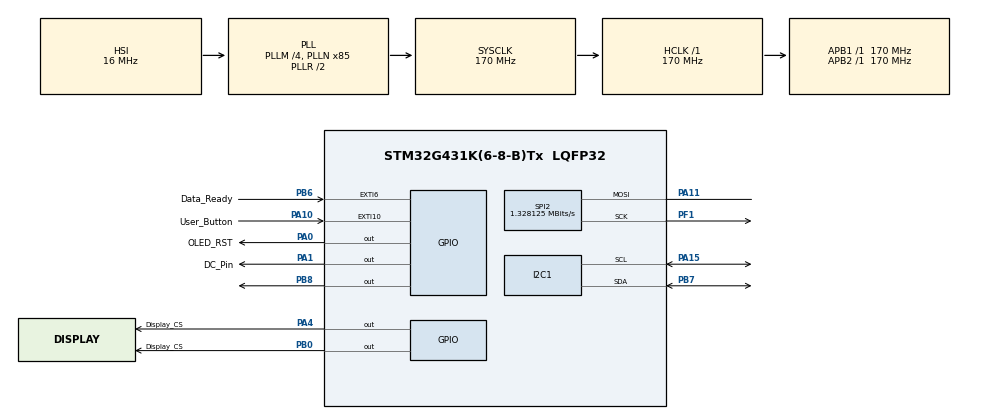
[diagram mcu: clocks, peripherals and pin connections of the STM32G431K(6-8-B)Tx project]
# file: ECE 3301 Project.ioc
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I2C1.Analog_Filter=I2C_ANALOGFILTER_DISABLE
I2C1.Timing=0x509170A3
IWDG.Prescaler=IWDG_PRESCALER_32
IWDG.Reload=249
IWDG.Window=249
Mcu.Family=STM32G4
Mcu.Name=STM32G431K(6-8-B)Tx
Mcu.Package=LQFP32
NUCLEO-G431KB.LD2=true
NUCLEO-G431KB.VCP=true
NVIC.EXTI15_10_IRQn=true\:0\:0\:false\:false\:true\:true\:true\:true
NVIC.EXTI9_5_IRQn=true\:0\:0\:false\:false\:true\:true\:true\:true
NVIC.PriorityGroup=NVIC_PRIORITYGROUP_4
NVIC.TIM2_IRQn=true\:0\:0\:false\:false\:true\:true\:true\:true
NVIC.TIM3_IRQn=true\:0\:0\:false\:false\:true\:true\:true\:true
PA0.GPIO_Label=OLED_RST
PA0.Signal=GPIO_Output
PA1.GPIO_Label=DC_Pin
PA1.Signal=GPIO_Output
PA10.GPIO_Label=User_Button
PA10.GPIO_PuPd=GPIO_PULLDOWN
PA10.Signal=GPXTI10
PA11.Mode=Simplex_Bidirectional_Master
PA11.Signal=SPI2_MOSI
PA13.GPIO_Label=T_SWDIO
PA13.Mode=Trace_Asynchronous_SW
PA13.Signal=SYS_JTMS-SWDIO
PA14.GPIO_Label=T_SWCLK
PA14.Mode=Trace_Asynchronous_SW
PA14.Signal=SYS_JTCK-SWCLK
PA15.GPIO_Pu=GPIO_NOPULL
PA15.GPIO_Speed=GPIO_SPEED_FREQ_VERY_HIGH
PA15.Mode=I2C
PA15.Signal=I2C1_SCL
PA2.Signal=USART2_TX
PA3.Signal=USART2_RX
PA4.GPIO_Label=Display_CS
PA4.GPIO_Speed=GPIO_SPEED_FREQ_VERY_HIGH
PA4.Signal=GPIO_Output
PB0.GPIO_Label=Display_CS
PB0.Signal=GPIO_Output
PB3.GPIO_Label=T_SWO
PB3.Mode=Trace_Asynchronous_SW
PB3.Signal=SYS_JTDO-SWO
PB6.GPIO_Label=Data_Ready
PB6.Signal=GPXTI6
PB7.GPIO_FM7=SYSCFG_FASTMODEPLUS_PB7
PB7.GPIO_Pu=GPIO_NOPULL
PB7.GPIO_Speed=GPIO_SPEED_FREQ_VERY_HIGH
PB7.Mode=I2C
PB7.Signal=I2C1_SDA
PB8-BOOT0.Signal=GPIO_Output
PF1-OSC_OUT.Mode=Simplex_Bidirectional_Master
PF1-OSC_OUT.Signal=SPI2_SCK
ProjectManager.HeapSize=0x200
ProjectManager.StackSize=0x400
ProjectManager.TargetToolchain=STM32CubeIDE
RCC.ADC12Freq_Value=170000000
RCC.AHBFreq_Value=170000000
RCC.APB1Freq_Value=170000000
RCC.APB1TimFreq_Value=170000000
RCC.APB2Freq_Value=170000000
RCC.APB2TimFreq_Value=170000000
RCC.CortexFreq_Value=170000000
RCC.EXTERNAL_CLOCK_VALUE=12288000
RCC.HCLKFreq_Value=170000000
RCC.HSE_VALUE=8000000
RCC.HSI48_VALUE=48000000
RCC.HSI_VALUE=16000000
RCC.LSE_VALUE=32768
RCC.PLLM=RCC_PLLM_DIV4
RCC.PLLN=85
RCC.SYSCLKFreq_VALUE=170000000
RCC.SYSCLKSource=RCC_SYSCLKSOURCE_PLLCLK
RCC.USBFreq_Value=170000000
RCC.VCOOutputFreq_Value=340000000
SPI2.BaudRatePrescaler=SPI_BAUDRATEPRESCALER_128
SPI2.CalculateBaudRate=1.328125 MBits/s
SPI2.Direction=SPI_DIRECTION_1LINE
SPI2.Mode=SPI_MODE_MASTER
SPI2.VirtualType=VM_MASTER
TIM2.PeriodNoDither=169999
TIM2.Prescaler=0
TIM3.PeriodNoDither=16999
TIM3.Prescaler=0
VP_CORDIC_VS_CORDIC.Mode=CORDIC_Activate
VP_IWDG_VS_IWDG.Mode=IWDG_Activate
VP_NUCLEO-G431KB_VS_BSP_COMMON.Mode=COMMON
VP_SYS_VS_DBSignals.Mode=DisableDeadBatterySignals
VP_TIM2_VS_ClockSourceINT.Mode=Internal
VP_TIM3_VS_ClockSourceINT.Mode=Internal
board=NUCLEO-G431KB

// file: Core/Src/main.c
/* USER CODE BEGIN Header */
/**
 ******************************************************************************
 * @file           : main.c
 * @brief          : Main program body
 ******************************************************************************
 * @attention
 *
 * Copyright (c) 2026 STMicroelectronics.
 * All rights reserved.
 *
 * This software is licensed under terms that can be found in the LICENSE file
 * in the root directory of this software component.
 * If no LICENSE file comes with this software, it is provided AS-IS.
 *
 ******************************************************************************
 */
/* USER CODE END Header */
#include "main.h"
#include "bno055.h"

/* USER CODE BEGIN PD */
#define LEVEL_MODE 0
#define COMPASS_MODE 1

#define SLEEP_TIMER 20000

#define REFRESH_RATE 65 // 1/65ms ~ 15 FPS

/* BEGIN TELEMETRY: remove this block and its use in the main loop to disable. */
#define TELEMETRY_PERIOD_MS 500U
/* END TELEMETRY */

#define SCREEN_WIDTH  240
#define SCREEN_HEIGHT 240

/* USER CODE END PD */

COM_InitTypeDef BspCOMInit;

CORDIC_HandleTypeDef hcordic;

I2C_HandleTypeDef hi2c1;

IWDG_HandleTypeDef hiwdg;

SPI_HandleTypeDef hspi2;

TIM_HandleTypeDef htim2;
TIM_HandleTypeDef htim3;

/* USER CODE BEGIN PV */
volatile uint8_t Display_State = LEVEL_MODE;
volatile uint8_t Sleep_Mode = 0;

volatile uint32_t Sleep_tick = 0;
volatile uint32_t DisplayRefresh_tick = 0;

volatile uint16_t AccelVector[2] = { 0 };
volatile uint16_t gyroVector[2] = { 0 };
volatile uint16_t gravityVector[3] = { 0 }; //dunno if we need this

volatile uint16_t headingVector[2] = { 0 }; //compass vectors
volatile uint16_t levelVector[2] = { 0 };  //level vectors

volatile uint8_t Data_Ready = 0;

volatile float compassHeading = 0.0f;
volatile uint8_t compassDirection = 0;
volatile float tiltX = 0.0f;
volatile float tiltY = 0.0f;

const char *compassString;

uint8_t frame_buffer[SCREEN_WIDTH * SCREEN_HEIGHT / 2];

BNO055_Data orientation;

/* USER CODE END PV */

void SystemClock_Config(void);
static void MX_GPIO_Init(void);
static void MX_I2C1_Init(void);
static void MX_CORDIC_Init(void);
static void MX_TIM2_Init(void);
static void MX_TIM3_Init(void);
static void MX_IWDG_Init(void);
static void MX_SPI2_Init(void);
/* USER CODE BEGIN PFP */

static void read_level(); 			 //Terry
static void read_heading(); 		 //Terry
static void calculate_level(); 	 	 //Ryan
static void calculate_compass(); 	 //Brady
static void generate_levelframe(); 	 //Ethan
static void generate_headingframe(); //Ethan
static void update_display();  		 //Alexander

/* USER CODE END PFP */

/* USER CODE BEGIN 0 */
void HAL_GPIO_EXTI_Callback(uint16_t GPIO_Pin) {
	if (GPIO_Pin == User_Button_Pin) {
		Display_State = !Display_State;
	} else if (GPIO_Pin == Data_Ready_Pin) {
		Data_Ready = 1;
	}
}

void HAL_TIM_PeriodElapsedCallback(TIM_HandleTypeDef *htim) {
	// 1 ms timer
	if (htim->Instance == TIM2) {
		DisplayRefresh_tick++;
		Sleep_tick++;
		//fill as needed

	}

	// 100 us timer
	else if (htim->Instance == TIM3) {
		//fill as needed

	}
}

static void read_level() {
	if (BNO055_Read(&hi2c1, &orientation) == HAL_OK)
	    {
		        // Store roll angle
		        levelVector[0] =
		            (int16_t)(orientation.roll_deg * 100.0f);

		        // Store pitch angle
		        levelVector[1] =
		            (int16_t)(orientation.pitch_deg * 100.0f);
	    }
	//run the sensor in 9DOF fusion mode
	//pwetty pwease enable ACC_BSX_DRDY interrupt, and clear at end of data read

	//format vector info as Vector[]= {x,y,z};

}

static void read_heading() {
	if (BNO055_Read(&hi2c1, &orientation) == HAL_OK)
	    {
	        headingVector[0] =
	            (uint16_t)(orientation.heading_deg);
	    }
}

static void calculate_level() {

		tiltX = levelVector[0] / 100.0f;
	    tiltY = levelVector[1] / 100.0f;
}

static void calculate_compass() {

	uint16_t Heading = headingVector[0];  //read heading

	compassHeading = Heading;

	if (compassHeading >= 337.5f ||
	        compassHeading < 22.5f)
	    {
	        compassString = "North";  // North
	    }
	    else if (compassHeading < 67.5f)
	    {
	        compassString = "North-East";  // North-east
	    }
	    else if (compassHeading < 112.5f)
	    {
	        compassString = "East";  // East
	    }
	    else if (compassHeading < 157.5f)
	    {
	        compassString = "South-East";  // South-east
	    }
	    else if (compassHeading < 202.5f)
	    {
	        compassString = "South";  // South
	    }
	    else if (compassHeading < 247.5f)
	    {
	        compassString = "South-West";  // South-west
	    }
	    else if (compassHeading < 292.5f)
	    {
	        compassString = "West";  // West
	    }
	    else
	    {
	        compassString = "North-West";  // Northwest
	    }

}

static void generate_levelframe() {

}

static void generate_headingframe() {

}

static void update_display() {

}

/* USER CODE END 0 */

int main(void)
{

  /* MCU Configuration--------------------------------------------------------*/

  /* Reset of all peripherals, Initializes the Flash interface and the Systick. */
  HAL_Init();

  /* Configure the system clock */
  SystemClock_Config();

  /* Initialize all configured peripherals */
  MX_GPIO_Init();
  MX_I2C1_Init();
  MX_CORDIC_Init();
  MX_TIM2_Init();
  MX_TIM3_Init();
  //MX_IWDG_Init();
  MX_SPI2_Init();
  /* USER CODE BEGIN 2 */

  /* Initialize COM1 port (115200, 8 bits (7-bit data + 1 stop bit), no parity */
  BspCOMInit.BaudRate   = 115200;
  BspCOMInit.WordLength = COM_WORDLENGTH_8B;
  BspCOMInit.StopBits   = COM_STOPBITS_1;
  BspCOMInit.Parity     = COM_PARITY_NONE;
  BspCOMInit.HwFlowCtl  = COM_HWCONTROL_NONE;
  if (BSP_COM_Init(COM1, &BspCOMInit) != BSP_ERROR_NONE)
  {
    Error_Handler();
  }

  /* BEGIN TELEMETRY: remove this line with the other telemetry blocks. */
  printf("VCOM online\r\n");
  /* END TELEMETRY */

  /* BEGIN I2C TEST: remove this block after the sensor bus is verified. */
  uint8_t test_chip_id = 0;
  HAL_StatusTypeDef test_status = BNO055_I2C_Test(&hi2c1, &test_chip_id);
  printf("I2C test: %s, chip ID=0x%02X, error=0x%08lX\r\n",
         test_status == HAL_OK ? "OK" : "FAIL", test_chip_id,
         (unsigned long)HAL_I2C_GetError(&hi2c1));
  /* END I2C TEST */

  if (BNO055_Init(&hi2c1) != HAL_OK)
  {
      printf("BNO055 init failed, I2C error=0x%08lX\r\n",
             (unsigned long)HAL_I2C_GetError(&hi2c1));
      Error_Handler();
  }
  printf("BNO055 init OK\r\n");

 // MX_IWDG_Init(); // Moved in front of BNOO055_Init to prevent watchdog reset

	HAL_TIM_Base_Start_IT(&htim2);
	HAL_TIM_Base_Start_IT(&htim3);

  /* USER CODE END 2 */

  /* Do not call BSP_LED_Init here: USE_NUCLEO_64 maps the LED to PA5,
     which shares SDA/PB7 through SB2 on the NUCLEO-G431KB. */

  /* Initialize COM1 port (115200, 8 bits (7-bit data + 1 stop bit), no parity */
  BspCOMInit.BaudRate   = 115200;
  BspCOMInit.WordLength = COM_WORDLENGTH_8B;
  BspCOMInit.StopBits   = COM_STOPBITS_1;
  BspCOMInit.Parity     = COM_PARITY_NONE;
  BspCOMInit.HwFlowCtl  = COM_HWCONTROL_NONE;
  if (BSP_COM_Init(COM1, &BspCOMInit) != BSP_ERROR_NONE)
  {
    Error_Handler();
  }

  /* Infinite loop */
  /* USER CODE BEGIN WHILE */
	while (1) {
		/* BEGIN TELEMETRY: periodic angle output over the USB VCOM port. */
		static uint32_t telemetry_last_tick = 0;
		/* END TELEMETRY */

    /* USER CODE END WHILE */

    /* USER CODE BEGIN 3 */

		if (Data_Ready) {
			Sleep_Mode = 0;
			Sleep_tick = 0;
			Data_Ready=0;
			if (Display_State == LEVEL_MODE) {
				read_level();
				calculate_level();
				if (DisplayRefresh_tick >= REFRESH_RATE) {
					generate_levelframe();
					update_display();
					DisplayRefresh_tick = 0;
				}
			} else if (Display_State == COMPASS_MODE) {
				read_heading();
				calculate_compass();
				if (DisplayRefresh_tick >= REFRESH_RATE) {
					generate_headingframe();
					update_display();
					DisplayRefresh_tick = 0;
				}
			} else {
				Display_State = LEVEL_MODE;
			}
			if (BNO055_ClearInterrupt(&hi2c1) != HAL_OK)
			{
			    Error_Handler();
			}
		}
		/* BEGIN TELEMETRY: remove this block to disable angle output. */
		if ((HAL_GetTick() - telemetry_last_tick) >= TELEMETRY_PERIOD_MS) {
			telemetry_last_tick = HAL_GetTick();
			/* Poll directly so telemetry also works without the INT connection. */
			if (BNO055_Read(&hi2c1, &orientation) != HAL_OK) {
				printf("ANGLE read failed, I2C error=0x%08lX\r\n",
				       (unsigned long)HAL_I2C_GetError(&hi2c1));
				continue;
			}
			int32_t heading_cdeg = (int32_t)lroundf(orientation.heading_deg * 100.0f);
			int32_t roll_cdeg = (int32_t)lroundf(orientation.roll_deg * 100.0f);
			int32_t pitch_cdeg = (int32_t)lroundf(orientation.pitch_deg * 100.0f);
			uint32_t heading_abs = (uint32_t)(heading_cdeg < 0 ? -heading_cdeg : heading_cdeg);
			uint32_t roll_abs = (uint32_t)(roll_cdeg < 0 ? -roll_cdeg : roll_cdeg);
			uint32_t pitch_abs = (uint32_t)(pitch_cdeg < 0 ? -pitch_cdeg : pitch_cdeg);

			printf("ANGLES H=%s%lu.%02lu R=%s%lu.%02lu P=%s%lu.%02lu deg\r\n",
			       heading_cdeg < 0 ? "-" : "", (unsigned long)(heading_abs / 100U), (unsigned long)(heading_abs % 100U),
			       roll_cdeg < 0 ? "-" : "", (unsigned long)(roll_abs / 100U), (unsigned long)(roll_abs % 100U),
			       pitch_cdeg < 0 ? "-" : "", (unsigned long)(pitch_abs / 100U), (unsigned long)(pitch_abs % 100U));
			telemetry_last_tick = HAL_GetTick();
		}
		/* END TELEMETRY */
		if ((Sleep_tick >= SLEEP_TIMER) && !Sleep_Mode) {
			Sleep_Mode = 1;
			memset(frame_buffer, 0, sizeof(frame_buffer));
			update_display();
		}

		//HAL_IWDG_Refresh(&hiwdg); //needs to be kicked every 250ms
	}

  /* USER CODE END 3 */
}

void SystemClock_Config(void)
{
  RCC_OscInitTypeDef RCC_OscInitStruct = {0};
  RCC_ClkInitTypeDef RCC_ClkInitStruct = {0};

  /** Configure the main internal regulator output voltage
  */
  HAL_PWREx_ControlVoltageScaling(PWR_REGULATOR_VOLTAGE_SCALE1_BOOST);

  /** Initializes the RCC Oscillators according to the specified parameters
  * in the RCC_OscInitTypeDef structure.
  */
  RCC_OscInitStruct.OscillatorType = RCC_OSCILLATORTYPE_HSI|RCC_OSCILLATORTYPE_LSI;
  RCC_OscInitStruct.HSIState = RCC_HSI_ON;
  RCC_OscInitStruct.HSICalibrationValue = RCC_HSICALIBRATION_DEFAULT;
  RCC_OscInitStruct.LSIState = RCC_LSI_ON;
  RCC_OscInitStruct.PLL.PLLState = RCC_PLL_ON;
  RCC_OscInitStruct.PLL.PLLSource = RCC_PLLSOURCE_HSI;
  RCC_OscInitStruct.PLL.PLLM = RCC_PLLM_DIV4;
  RCC_OscInitStruct.PLL.PLLN = 85;
  RCC_OscInitStruct.PLL.PLLP = RCC_PLLP_DIV2;
  RCC_OscInitStruct.PLL.PLLQ = RCC_PLLQ_DIV2;
  RCC_OscInitStruct.PLL.PLLR = RCC_PLLR_DIV2;
  if (HAL_RCC_OscConfig(&RCC_OscInitStruct) != HAL_OK)
  {
    Error_Handler();
  }

  /** Initializes the CPU, AHB and APB buses clocks
  */
  RCC_ClkInitStruct.ClockType = RCC_CLOCKTYPE_HCLK|RCC_CLOCKTYPE_SYSCLK
                              |RCC_CLOCKTYPE_PCLK1|RCC_CLOCKTYPE_PCLK2;
  RCC_ClkInitStruct.SYSCLKSource = RCC_SYSCLKSOURCE_PLLCLK;
  RCC_ClkInitStruct.AHBCLKDivider = RCC_SYSCLK_DIV1;
  RCC_ClkInitStruct.APB1CLKDivider = RCC_HCLK_DIV1;
  RCC_ClkInitStruct.APB2CLKDivider = RCC_HCLK_DIV1;

  if (HAL_RCC_ClockConfig(&RCC_ClkInitStruct, FLASH_LATENCY_4) != HAL_OK)
  {
    Error_Handler();
  }
}

static void MX_CORDIC_Init(void)
{

  hcordic.Instance = CORDIC;
  if (HAL_CORDIC_Init(&hcordic) != HAL_OK)
  {
    Error_Handler();
  }

}

static void MX_I2C1_Init(void)
{

  hi2c1.Instance = I2C1;
  hi2c1.Init.Timing = 0x509170A3;
  hi2c1.Init.OwnAddress1 = 0;
  hi2c1.Init.AddressingMode = I2C_ADDRESSINGMODE_7BIT;
  hi2c1.Init.DualAddressMode = I2C_DUALADDRESS_DISABLE;
  hi2c1.Init.OwnAddress2 = 0;
  hi2c1.Init.OwnAddress2Masks = I2C_OA2_NOMASK;
  hi2c1.Init.GeneralCallMode = I2C_GENERALCALL_DISABLE;
  hi2c1.Init.NoStretchMode = I2C_NOSTRETCH_DISABLE;
  if (HAL_I2C_Init(&hi2c1) != HAL_OK)
  {
    Error_Handler();
  }

  /** Configure Analogue filter
  */
  if (HAL_I2CEx_ConfigAnalogFilter(&hi2c1, I2C_ANALOGFILTER_DISABLE) != HAL_OK)
  {
    Error_Handler();
  }

  /** Configure Digital filter
  */
  if (HAL_I2CEx_ConfigDigitalFilter(&hi2c1, 0) != HAL_OK)
  {
    Error_Handler();
  }

}

static void MX_IWDG_Init(void)
{

  hiwdg.Instance = IWDG;
  hiwdg.Init.Prescaler = IWDG_PRESCALER_32;
  hiwdg.Init.Window = 249;
  hiwdg.Init.Reload = 249;
  if (HAL_IWDG_Init(&hiwdg) != HAL_OK)
  {
    Error_Handler();
  }

}

static void MX_SPI2_Init(void)
{

  /* SPI2 parameter configuration*/
  hspi2.Instance = SPI2;
  hspi2.Init.Mode = SPI_MODE_MASTER;
  hspi2.Init.Direction = SPI_DIRECTION_1LINE;
  hspi2.Init.DataSize = SPI_DATASIZE_4BIT;
  hspi2.Init.CLKPolarity = SPI_POLARITY_LOW;
  hspi2.Init.CLKPhase = SPI_PHASE_1EDGE;
  hspi2.Init.NSS = SPI_NSS_SOFT;
  hspi2.Init.BaudRatePrescaler = SPI_BAUDRATEPRESCALER_128;
  hspi2.Init.FirstBit = SPI_FIRSTBIT_MSB;
  hspi2.Init.TIMode = SPI_TIMODE_DISABLE;
  hspi2.Init.CRCCalculation = SPI_CRCCALCULATION_DISABLE;
  hspi2.Init.CRCPolynomial = 7;
  hspi2.Init.CRCLength = SPI_CRC_LENGTH_DATASIZE;
  hspi2.Init.NSSPMode = SPI_NSS_PULSE_ENABLE;
  if (HAL_SPI_Init(&hspi2) != HAL_OK)
  {
    Error_Handler();
  }

}

static void MX_TIM2_Init(void)
{

  TIM_ClockConfigTypeDef sClockSourceConfig = {0};
  TIM_MasterConfigTypeDef sMasterConfig = {0};

  htim2.Instance = TIM2;
  htim2.Init.Prescaler = 0;
  htim2.Init.CounterMode = TIM_COUNTERMODE_UP;
  htim2.Init.Period = 169999;
  htim2.Init.ClockDivision = TIM_CLOCKDIVISION_DIV1;
  htim2.Init.AutoReloadPreload = TIM_AUTORELOAD_PRELOAD_DISABLE;
  if (HAL_TIM_Base_Init(&htim2) != HAL_OK)
  {
    Error_Handler();
  }
  sClockSourceConfig.ClockSource = TIM_CLOCKSOURCE_INTERNAL;
  if (HAL_TIM_ConfigClockSource(&htim2, &sClockSourceConfig) != HAL_OK)
  {
    Error_Handler();
  }
  sMasterConfig.MasterOutputTrigger = TIM_TRGO_RESET;
  sMasterConfig.MasterSlaveMode = TIM_MASTERSLAVEMODE_DISABLE;
  if (HAL_TIMEx_MasterConfigSynchronization(&htim2, &sMasterConfig) != HAL_OK)
  {
    Error_Handler();
  }

}

static void MX_TIM3_Init(void)
{

  TIM_ClockConfigTypeDef sClockSourceConfig = {0};
  TIM_MasterConfigTypeDef sMasterConfig = {0};

  htim3.Instance = TIM3;
  htim3.Init.Prescaler = 0;
  htim3.Init.CounterMode = TIM_COUNTERMODE_UP;
  htim3.Init.Period = 16999;
  htim3.Init.ClockDivision = TIM_CLOCKDIVISION_DIV1;
  htim3.Init.AutoReloadPreload = TIM_AUTORELOAD_PRELOAD_DISABLE;
  if (HAL_TIM_Base_Init(&htim3) != HAL_OK)
  {
    Error_Handler();
  }
  sClockSourceConfig.ClockSource = TIM_CLOCKSOURCE_INTERNAL;
  if (HAL_TIM_ConfigClockSource(&htim3, &sClockSourceConfig) != HAL_OK)
  {
    Error_Handler();
  }
  sMasterConfig.MasterOutputTrigger = TIM_TRGO_RESET;
  sMasterConfig.MasterSlaveMode = TIM_MASTERSLAVEMODE_DISABLE;
  if (HAL_TIMEx_MasterConfigSynchronization(&htim3, &sMasterConfig) != HAL_OK)
  {
    Error_Handler();
  }

}

static void MX_GPIO_Init(void)
{
  GPIO_InitTypeDef GPIO_InitStruct = {0};

  /* GPIO Ports Clock Enable */
  __HAL_RCC_GPIOF_CLK_ENABLE();
  __HAL_RCC_GPIOA_CLK_ENABLE();
  __HAL_RCC_GPIOB_CLK_ENABLE();

  /*Configure GPIO pin Output Level */
  HAL_GPIO_WritePin(GPIOA, OLED_RST_Pin|DC_Pin_Pin|Display_CS_Pin, GPIO_PIN_RESET);

  /*Configure GPIO pin Output Level */
  HAL_GPIO_WritePin(Display_CSB0_GPIO_Port, Display_CSB0_Pin, GPIO_PIN_RESET);

  /*Configure GPIO pins : OLED_RST_Pin DC_Pin_Pin */
  GPIO_InitStruct.Pin = OLED_RST_Pin|DC_Pin_Pin;
  GPIO_InitStruct.Mode = GPIO_MODE_OUTPUT_PP;
  GPIO_InitStruct.Pull = GPIO_NOPULL;
  GPIO_InitStruct.Speed = GPIO_SPEED_FREQ_LOW;
  HAL_GPIO_Init(GPIOA, &GPIO_InitStruct);

  /*Configure GPIO pin : Display_CS_Pin */
  GPIO_InitStruct.Pin = Display_CS_Pin;
  GPIO_InitStruct.Mode = GPIO_MODE_OUTPUT_PP;
  GPIO_InitStruct.Pull = GPIO_NOPULL;
  GPIO_InitStruct.Speed = GPIO_SPEED_FREQ_VERY_HIGH;
  HAL_GPIO_Init(Display_CS_GPIO_Port, &GPIO_InitStruct);

  /*Configure GPIO pin : Display_CSB0_Pin */
  GPIO_InitStruct.Pin = Display_CSB0_Pin;
  GPIO_InitStruct.Mode = GPIO_MODE_OUTPUT_PP;
  GPIO_InitStruct.Pull = GPIO_NOPULL;
  GPIO_InitStruct.Speed = GPIO_SPEED_FREQ_LOW;
  HAL_GPIO_Init(Display_CSB0_GPIO_Port, &GPIO_InitStruct);

  /*Configure GPIO pin : User_Button_Pin */
  GPIO_InitStruct.Pin = User_Button_Pin;
  GPIO_InitStruct.Mode = GPIO_MODE_IT_RISING;
  GPIO_InitStruct.Pull = GPIO_PULLDOWN;
  HAL_GPIO_Init(User_Button_GPIO_Port, &GPIO_InitStruct);

  /*Configure GPIO pin : Data_Ready_Pin */
  GPIO_InitStruct.Pin = Data_Ready_Pin;
  GPIO_InitStruct.Mode = GPIO_MODE_IT_RISING;
  GPIO_InitStruct.Pull = GPIO_NOPULL;
  HAL_GPIO_Init(Data_Ready_GPIO_Port, &GPIO_InitStruct);

  /* EXTI interrupt init*/
  HAL_NVIC_SetPriority(EXTI9_5_IRQn, 0, 0);
  HAL_NVIC_EnableIRQ(EXTI9_5_IRQn);

  HAL_NVIC_SetPriority(EXTI15_10_IRQn, 0, 0);
  HAL_NVIC_EnableIRQ(EXTI15_10_IRQn);

}

/* USER CODE BEGIN Header */
/**
 ******************************************************************************
 * @file           : main.c
 * @brief          : Main program body
 ******************************************************************************
 * @attention
 *
 * Copyright (c) 2026 STMicroelectronics.
 * All rights reserved.
 *
 * This software is licensed under terms that can be found in the LICENSE file
 * in the root directory of this software component.
 * If no LICENSE file comes with this software, it is provided AS-IS.
 *
 ******************************************************************************
 */
/* USER CODE END Header */

void Error_Handler(void)
{
	__disable_irq();
	while (1) {
	}
}
